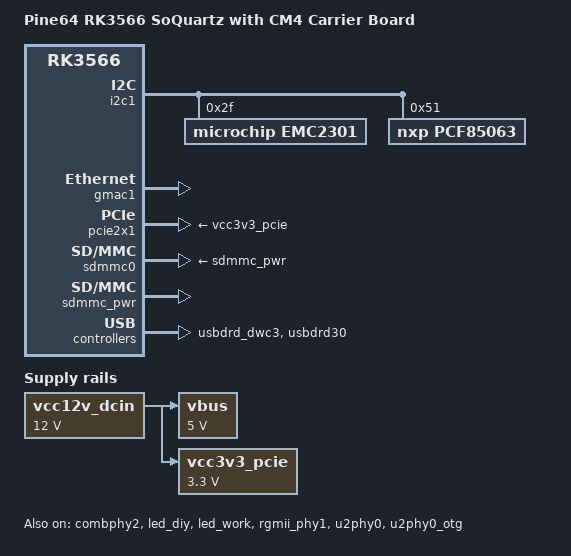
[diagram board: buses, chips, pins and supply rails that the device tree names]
// SPDX-License-Identifier: (GPL-2.0+ OR MIT)

/dts-v1/;

#include "rk3566-soquartz.dtsi"

/ {
	model = "Pine64 RK3566 SoQuartz with CM4 Carrier Board";
	compatible = "pine64,soquartz-cm4", "pine64,soquartz", "rockchip,rk3566";

	/* labeled +12v in schematic */
	vcc12v_dcin: vcc12v_dcin {
		compatible = "regulator-fixed";
		regulator-name = "vcc12v_dcin";
		regulator-always-on;
		regulator-boot-on;
		regulator-min-microvolt = <12000000>;
		regulator-max-microvolt = <12000000>;
	};

	/* labeled +5v in schematic */
	vbus: vbus {
		compatible = "regulator-fixed";
		regulator-name = "vbus";
		regulator-always-on;
		regulator-boot-on;
		regulator-min-microvolt = <5000000>;
		regulator-max-microvolt = <5000000>;
		vin-supply = <&vcc12v_dcin>;
	};

	/* labeled +3.3v For PCIe only in schematic */
	vcc3v3_pcie: 3v3_pcie {
		compatible = "regulator-fixed";
		regulator-always-on;
		regulator-boot-on;
		regulator-name = "vcc3v3_pcie";
		regulator-min-microvolt = <3300000>;
		regulator-max-microvolt = <3300000>;
		vin-supply = <&vcc12v_dcin>;
	};
};

&combphy2 {
	status = "okay";
};

/* i2c1 provides SCL/SDA pins 80/82 */
&i2c1 {
	status = "okay";

	emc2301:  emc2301@2f {
		reg = <0x2f>;
		compatible = "microchip,emc2301";
		#cooling-cells = <0x02>;

		fan@0 {
			min-rpm = /bits/ 16 <500>;
			max-rpm = /bits/ 16 <5500>;
		};
	};

	/* the rtc interrupt is tied to PMIC_PWRON,
	 * it will force reset the board if triggered.
	 */
	pcf85063: rtc@51 {
		compatible = "nxp,pcf85063";
		reg = <0x51>;
	};
};

&gmac1 {
	status = "okay";
};

&led_diy {
	status = "okay";
};

&led_work {
	status = "okay";
};

&pcie2x1 {
	vpcie3v3-supply = <&vcc3v3_pcie>;
	status = "okay";
};

&rgmii_phy1 {
	status = "okay";
};

&sdmmc0 {
	vmmc-supply = <&sdmmc_pwr>;
	status = "okay";
};

&sdmmc_pwr {
	regulator-min-microvolt = <3300000>;
	regulator-max-microvolt = <3300000>;
	status = "okay";
};

&u2phy0 {
	status = "okay";
};

&u2phy0_otg {
	phy-supply = <&vbus>;
	status = "okay";
};

&usbdrd_dwc3 {
	status = "okay";
};

&usbdrd30 {
	status = "okay";
};
